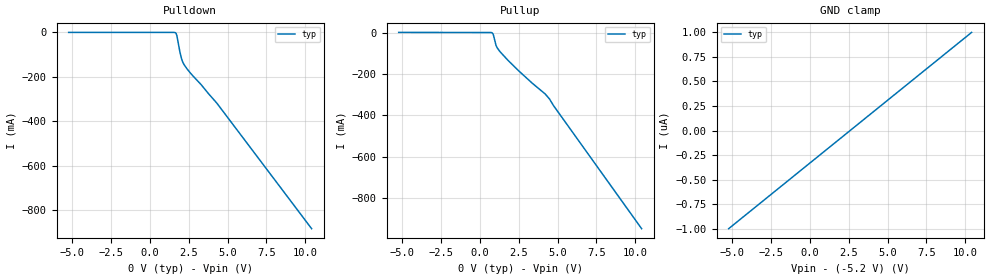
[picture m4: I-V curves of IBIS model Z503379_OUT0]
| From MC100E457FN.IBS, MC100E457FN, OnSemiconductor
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| (C) COPYRIGHT 1993-2000
| MENTOR GRAPHICS CORPORATION
| ICX STANDARD LIBRARY, ICX PROJECT MODELING,
| ICX CUSTOM MODELING, ICX VENDOR MODEL
| ALL RIGHTS RESERVED.
| THE FOLLOWING ARE TRADEMARKS OR SERVICE MARKS OF
| MENTOR GRAPHICS CORPORATION:ICX (R), ICX STANDARD
| LIBRARY(R), ICX PROJECT MODELING(R), ICX CUSTOM
| MODELING(R), qualityIBIS(TM), MODELVIEWER(TM),
| AND MODELEDITOR(TM)
| ALL COPIES OF SOFTWARE, INCLUDING BUT NOT LIMITED TO
| ANY MODIFICATIONS, ENHANCEMENTS OR DERIVATIVE WORKS,
| MUST CONTAIN ALL MENTOR GRAPHICS CORPORATION'S
| NOTICES AND LEGENDS, INCLUDING THOSE EMBEDDED IN
| SOFTWARE AND THOSE AFFIXED TO SOFTWARE MEDIUM
| AND CONTAINER, AS RECEIVED FROM MENTOR GRAPHICS
| CORPORATION.
| Model Application Version 1.89 2/18/99.
[Model] Z503379_OUT0
Model_type Output_ECL
Vref=-2.000V
Rref=50.00ohms
Cref=0.000F
Vmeas=-1.320V
C_comp 8.000pF NA NA
| variable typ   min   max
[Voltage Range] -5.200V NA NA
[POWER Clamp Reference] 0.000V NA NA
[Pullup Reference] 0.000V NA NA
[Pulldown Reference] 0.000V NA NA
[GND Clamp Reference] -5.200V NA NA
[GND Clamp]
-5.2V     -1uA       NA         NA
10.4V     1uA        NA         NA
[Pulldown]
-5.2V     50.43uA    NA         NA
1.661V    -1.776mA   NA         NA
1.748V    -14.28mA   NA         NA
1.945V    -88.84mA   NA         NA
2.051V    -118.8mA   NA         NA
2.203V    -144.1mA   NA         NA
2.62V     -182.7mA   NA         NA
3.305V    -234.6mA   NA         NA
4.311V    -317.5mA   NA         NA
10.4V     -881.9mA   NA         NA
[Pullup]
-5.2V     577.6uA    NA         NA
805mV     -1.691mA   NA         NA
889.2mV   -13.06mA   NA         NA
1.055V    -62.83mA   NA         NA
1.304V    -92.03mA   NA         NA
2.5V      -184.2mA   NA         NA
4.198V    -295.5mA   NA         NA
4.487V    -320.6mA   NA         NA
4.731V    -351.1mA   NA         NA
10.4V     -945.6mA   NA         NA
[POWER Clamp]
-5.2V     0A         NA         NA
10.4V     0A         NA         NA
[Ramp]
| variable typ min max
dV/dt_r 472.3m/473.9p NA NA
dV/dt_f 472.3m/502.5p NA NA
R_load = 50.00Ohms
